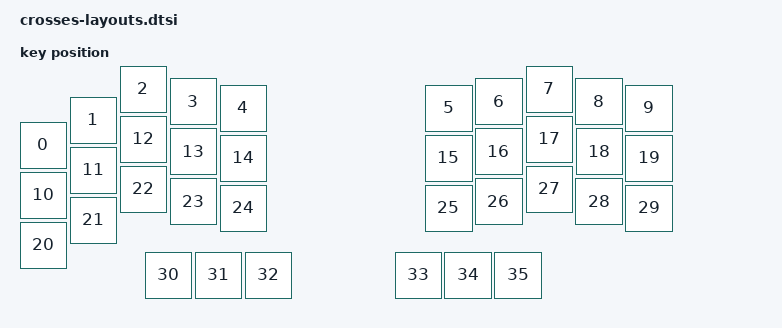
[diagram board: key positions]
#include <physical_layouts.dtsi>

/ {
  physical_layout0: crosses_physical_layout {
    compatible = "zmk,physical-layout";
    display-name = "Crosses 36";
    transform = <&default_transform>;
    kscan = <&kscan0>;

    keys =
      /* row 0: RC(0,0..4) then RC(0,9..5) */
      <&key_physical_attrs 100 100    0  112   0 0 0>,  /* RC(0,0) */
      <&key_physical_attrs 100 100  100   62   0 0 0>,  /* RC(0,1) */
      <&key_physical_attrs 100 100  200    0   0 0 0>,  /* RC(0,2) */
      <&key_physical_attrs 100 100  300   25   0 0 0>,  /* RC(0,3) */
      <&key_physical_attrs 100 100  400   38   0 0 0>,  /* RC(0,4) */
      <&key_physical_attrs 100 100  812   38   0 0 0>,  /* RC(0,9) */
      <&key_physical_attrs 100 100  912   25   0 0 0>,  /* RC(0,8) */
      <&key_physical_attrs 100 100 1012    0   0 0 0>,  /* RC(0,7) */
      <&key_physical_attrs 100 100 1112   25   0 0 0>,  /* RC(0,6) */
      <&key_physical_attrs 100 100 1212   38   0 0 0>,  /* RC(0,5) */


      /* row 1 */
      <&key_physical_attrs 100 100    0  212   0 0 0>,  /* RC(1,0) */
      <&key_physical_attrs 100 100  100  162   0 0 0>,  /* RC(1,1) */
      <&key_physical_attrs 100 100  200  100   0 0 0>,  /* RC(1,2) */
      <&key_physical_attrs 100 100  300  125   0 0 0>,  /* RC(1,3) */
      <&key_physical_attrs 100 100  400  138   0 0 0>,  /* RC(1,4) */
      <&key_physical_attrs 100 100  812  138   0 0 0>,  /* RC(1,9) */
      <&key_physical_attrs 100 100  912  125   0 0 0>,  /* RC(1,8) */
      <&key_physical_attrs 100 100 1012  100   0 0 0>,  /* RC(1,7) */
      <&key_physical_attrs 100 100 1113  125   0 0 0>,  /* RC(1,6) */
      <&key_physical_attrs 100 100 1212  138   0 0 0>,  /* RC(1,5) */

      /* row 2 */
      <&key_physical_attrs 100 100    0  312   0 0 0>,  /* RC(2,0) */
      <&key_physical_attrs 100 100  100  262   0 0 0>,  /* RC(2,1) */
      <&key_physical_attrs 100 100  200  200   0 0 0>,  /* RC(2,2) */
      <&key_physical_attrs 100 100  300  225   0 0 0>,  /* RC(2,3) */
      <&key_physical_attrs 100 100  400  238   0 0 0>,  /* RC(2,4) */
      <&key_physical_attrs 100 100  812  238   0 0 0>,  /* RC(2,9) */
      <&key_physical_attrs 100 100  912  225   0 0 0>,  /* RC(2,8) */
      <&key_physical_attrs 100 100 1012  200   0 0 0>,  /* RC(2,7) */
      <&key_physical_attrs 100 100 1112  225   0 0 0>,  /* RC(2,6) */
      <&key_physical_attrs 100 100 1212  238   0 0 0>,  /* RC(2,5) */

      /* row 3: RC(3,2)(3,3)(3,4) then RC(3,9)(3,8)(3,7) */
      <&key_physical_attrs 100 100  250  372   0 0 0>,  /* RC(3,2) */
      <&key_physical_attrs 100 100  350  372   0 0 0>,  /* RC(3,3) */
      <&key_physical_attrs 100 100  450  372   0 0 0>,  /* RC(3,4) */
      <&key_physical_attrs 100 100  750  372   0 0 0>,  /* RC(3,9) */
      <&key_physical_attrs 100 100  850  372   0 0 0>,  /* RC(3,8) */
      <&key_physical_attrs 100 100  950  372   0 0 0>;  /* RC(3,7) */
  };
};
